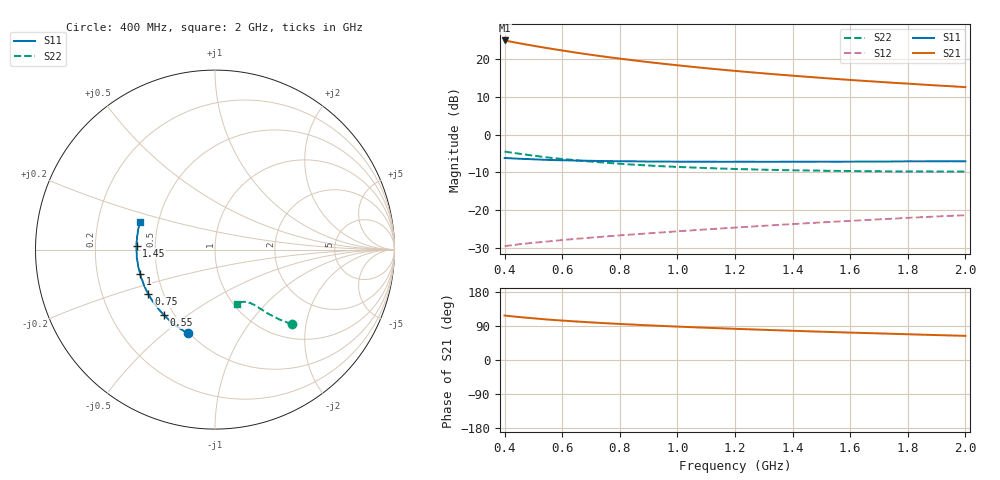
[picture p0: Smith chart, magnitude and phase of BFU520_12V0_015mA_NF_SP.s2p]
! Filename:  P:\Prog\Test\Noise\ATS_data\Testdata_Net\06 Compressed Noise after Statistics\BFU520_APG2013_37_A05_12p0V_015mA_NF_CM01_D.sf
! Date/Time: Fri 26/Apr/2013 14:13:14
! BFU520_APG2013_37_A05_12p0V_1to20mA_NF_CM01_Bias7_R.sf
! Noise Parameter Data File
! BFU520_APG2013_37_A05_12p0V_1to20mA_NF_CM01
! Date/time: Tue Apr 23 19:55:39 2013
! VAR V_out= 12.001000
! VAR I_out= 15.005000
! VAR V_in= 0.800900
! VAR I_in= 0.153650
! Device data file deembeded for feedlines and parallel
! Original file: \06 Compressed Noise after Statistics\BFU520_APG2013_37_A05_12p0V_015mA_NF_CM01_R.sf
! Feed-files: PR047V01_250413_Feed1.s2p, PR047V01_250413_Feed2.s2p
! Parallel-file: PR047V01_250413_Par.s2p
# MHz S MA R 50
!  Freq-MHz  S11-mag  S11-arg  S21-mag  S21-arg  S12-mag  S12-arg  S22-mag  S22-arg
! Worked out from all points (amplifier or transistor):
!   37 points, 400 MHz to 2 GHz, reference 50 ohm
!   highest |S21| = 24.8 dB at 400 MHz (marker M1)
!   |S21| within 3 dB of that: start of sweep to 630.1 MHz
!   unconditionally stable (mu >= 1): 1.627 GHz to end of sweep
!   at 500 MHz: K = 0.57, MSG = 26.0 dB, |S12| = -28.6 dB
!   at 1.1 GHz: K = 0.89, MSG = 21.3 dB, |S12| = -25.0 dB
!   at 2 GHz: K = 1.04, MAG = 15.6 dB, |S12| = -21.3 dB
!   lowest NFmin = 1.07 dB at 440 MHz
!   S11 on the Smith chart (normalised r, x): 400 MHz: 0.49, -0.61; 550 MHz: 0.44, -0.41; 750 MHz: 0.41, -0.26; 1 GHz: 0.40, -0.13; 1.45 GHz: 0.39, +0.02; 2 GHz: 0.40, +0.15
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400  0.4903 -107.7  17.47 117.3  0.03358 54.0  0.5951 -44.0
433  0.4827 -112.7  16.53 114.7  0.03488 53.3  0.5704 -45.3
460  0.4777 -116.5  15.82 112.7  0.03589 52.9  0.5525 -46.3
500  0.4709 -121.8  14.86 110.0  0.03727 52.4  0.5271 -47.5
550  0.4624 -128.0  13.81 106.8  0.03873 52.2  0.4978 -48.6
600  0.4573 -133.1  12.88 104.1  0.04047 52.1  0.4765 -49.7
650  0.4531 -137.9  12.04 101.6  0.04201 52.0  0.4566 -50.7
700  0.4497 -142.1  11.3 99.3  0.04351 52.1  0.4394 -51.3
750  0.4464 -146.3  10.64 97.1  0.04506 52.4  0.4248 -52.0
800  0.4447 -149.8  10.05 95.2  0.0466 52.6  0.4114 -52.8
850  0.4429 -153.3  9.523 93.3  0.04809 52.8  0.3998 -53.2
900  0.44 -156.7  9.04 91.5  0.04961 53.1  0.3902 -53.9
950  0.4401 -159.6  8.611 89.8  0.05115 53.4  0.381 -54.5
1000  0.4383 -162.2  8.215 88.2  0.05273 53.7  0.3738 -54.9
1100  0.4383 -167.4  7.516 85.1  0.05592 54.3  0.3613 -56.0
1200  0.4373 -172.4  6.925 82.3  0.0591 54.7  0.3512 -57.3
1300  0.4362 -176.6  6.422 79.6  0.0624 55.2  0.3437 -58.4
1450  0.4374 177.3  5.79 75.8  0.06745 55.7  0.3355 -60.3
1500  0.4389 175.7  5.602 74.7  0.06909 55.8  0.3333 -60.9
1600  0.4387 171.9  5.257 72.3  0.07244 56.0  0.3297 -62.3
1750  0.4407 167.1  4.821 69.0  0.0776 56.2  0.3257 -64.4
2000  0.4435 160.0  4.225 63.7  0.08598 56.2  0.3248 -68.3
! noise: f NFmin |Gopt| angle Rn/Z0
400  1.13  0.08902  178.4  0.122
460  1.076  0.1236  -174.3  0.1039
600  1.151  0.0864  -178.1  0.1182
800  1.142  0.1236  -176.2  0.1055
1000  1.164  0.1326  -174.3  0.1048
1200  1.189  0.1455  -172.2  0.1045
1400  1.206  0.1644  -172.7  0.1029
1600  1.251  0.1701  -165.1  0.1051
1800  1.252  0.1862  -164.7  0.0994
2000  1.265  0.1872  -161.5  0.1165
